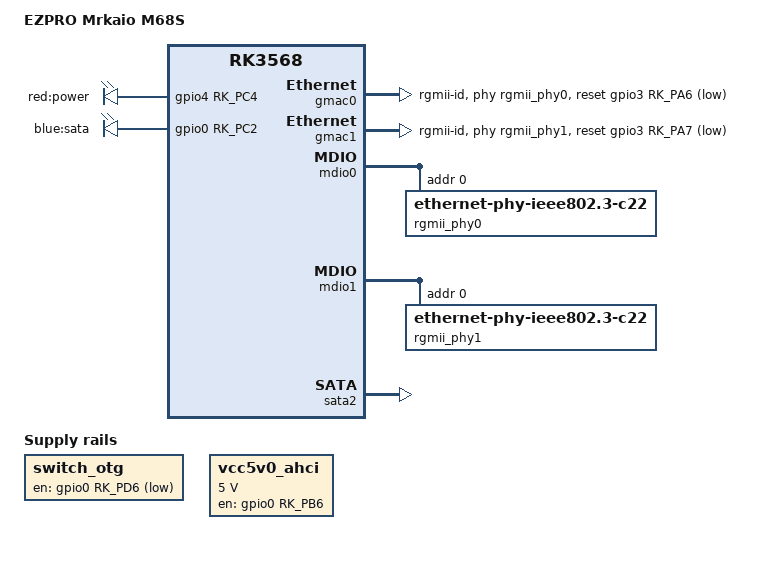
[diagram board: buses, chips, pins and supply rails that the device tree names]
// SPDX-License-Identifier: GPL-2.0-or-later OR MIT
/*
 * Copyright (c) 2022 AmadeusGhost <amadeus@jmu.edu.cn>
 */

/dts-v1/;
#include "rk3568-mrkaio-m68s.dtsi"

/ {
	model = "EZPRO Mrkaio M68S";
	compatible = "ezpro,mrkaio-m68s", "rockchip,rk3568";

	aliases {
		ethernet0 = &gmac0;
		ethernet1 = &gmac1;

		led-boot = &power_led;
		led-failsafe = &power_led;
		led-running = &power_led;
		led-upgrade = &power_led;
	};

	gpio-leds {
		compatible = "gpio-leds";
		pinctrl-names = "default";
		pinctrl-0 = <&power_led_pin>, <&sata_led_pin>;

		power_led: led-power {
			label = "red:power";
			gpios = <&gpio4 RK_PC4 GPIO_ACTIVE_HIGH>;
		};

		led-sata {
			label = "blue:sata";
			gpios = <&gpio0 RK_PC2 GPIO_ACTIVE_HIGH>;
			linux,default-trigger = "disk-activity";
		};
	};

	switch_otg: switch-otg-regulator {
		compatible = "regulator-fixed";
		gpio = <&gpio0 RK_PD6 GPIO_ACTIVE_LOW>;
		pinctrl-names = "default";
		pinctrl-0 = <&usb_otg_switch_en>;
		regulator-name = "switch_otg";
		regulator-always-on;
	};

	vcc5v0_ahci: vcc5v0-ahci-regulator {
		compatible = "regulator-fixed";
		enable-active-high;
		gpio = <&gpio0 RK_PB6 GPIO_ACTIVE_HIGH>;
		pinctrl-names = "default";
		pinctrl-0 = <&sata_pwr_en>;
		regulator-always-on;
		regulator-boot-on;
		regulator-min-microvolt = <5000000>;
		regulator-max-microvolt = <5000000>;
		regulator-name = "vcc5v0_ahci";
	};
};

&gmac0 {
	assigned-clocks = <&cru SCLK_GMAC0_RX_TX>, <&cru SCLK_GMAC0>;
	assigned-clock-parents = <&cru SCLK_GMAC0_RGMII_SPEED>;
	assigned-clock-rates = <0>, <125000000>;
	clock_in_out = "output";
	phy-mode = "rgmii-id";
	pinctrl-names = "default";
	pinctrl-0 = <&gmac0_miim
		     &gmac0_tx_bus2
		     &gmac0_rx_bus2
		     &gmac0_rgmii_clk
		     &gmac0_rgmii_bus>;
	snps,reset-gpio = <&gpio3 RK_PA6 GPIO_ACTIVE_LOW>;
	snps,reset-active-low;
	/* Reset time is 20ms, 100ms for rtl8211f */
	snps,reset-delays-us = <0 20000 100000>;
	tx_delay = <0x3c>;
	rx_delay = <0x2f>;
	phy-handle = <&rgmii_phy0>;
	status = "okay";
};

&gmac1 {
	assigned-clocks = <&cru SCLK_GMAC1_RX_TX>, <&cru SCLK_GMAC1>;
	assigned-clock-parents = <&cru SCLK_GMAC1_RGMII_SPEED>;
	assigned-clock-rates = <0>, <125000000>;
	clock_in_out = "output";
	phy-mode = "rgmii-id";
	pinctrl-names = "default";
	pinctrl-0 = <&gmac1m1_miim
		     &gmac1m1_tx_bus2
		     &gmac1m1_rx_bus2
		     &gmac1m1_rgmii_clk
		     &gmac1m1_rgmii_bus>;
	snps,reset-gpio = <&gpio3 RK_PA7 GPIO_ACTIVE_LOW>;
	snps,reset-active-low;
	/* Reset time is 20ms, 100ms for rtl8211f */
	snps,reset-delays-us = <0 20000 100000>;
	tx_delay = <0x42>;
	rx_delay = <0x28>;
	phy-handle = <&rgmii_phy1>;
	status = "okay";
};

&mdio0 {
	rgmii_phy0: ethernet-phy@0 {
		compatible = "ethernet-phy-ieee802.3-c22";
		reg = <0>;
	};
};

&mdio1 {
	rgmii_phy1: ethernet-phy@0 {
		compatible = "ethernet-phy-ieee802.3-c22";
		reg = <0>;
	};
};

&pinctrl {
	leds {
		power_led_pin: power-led-pin {
			rockchip,pins = <4 RK_PC4 RK_FUNC_GPIO &pcfg_pull_none>;
		};

		sata_led_pin: sata-led-pin {
			rockchip,pins = <0 RK_PC2 RK_FUNC_GPIO &pcfg_pull_none>;
		};
	};

	sata {
		sata_pwr_en: sata-pwr-en {
			rockchip,pins = <0 RK_PB6 RK_FUNC_GPIO &pcfg_pull_none>;
		};
	};

	usb {
		vcc5v0_usb_host_en: vcc5v0-usb-host-en {
			rockchip,pins = <0 RK_PA5 RK_FUNC_GPIO &pcfg_pull_none>;
		};

		vcc5v0_usb_otg_en: vcc5v0-usb-otg-en {
			rockchip,pins = <0 RK_PA6 RK_FUNC_GPIO &pcfg_pull_none>;
		};

		usb_otg_switch_en: usb-otg-switch-en {
			rockchip,pins = <0 RK_PD6 RK_FUNC_GPIO &pcfg_pull_none>;
		};
	};
};

&sata2 {
	target-supply = <&vcc5v0_ahci>;
	status = "okay";
};
